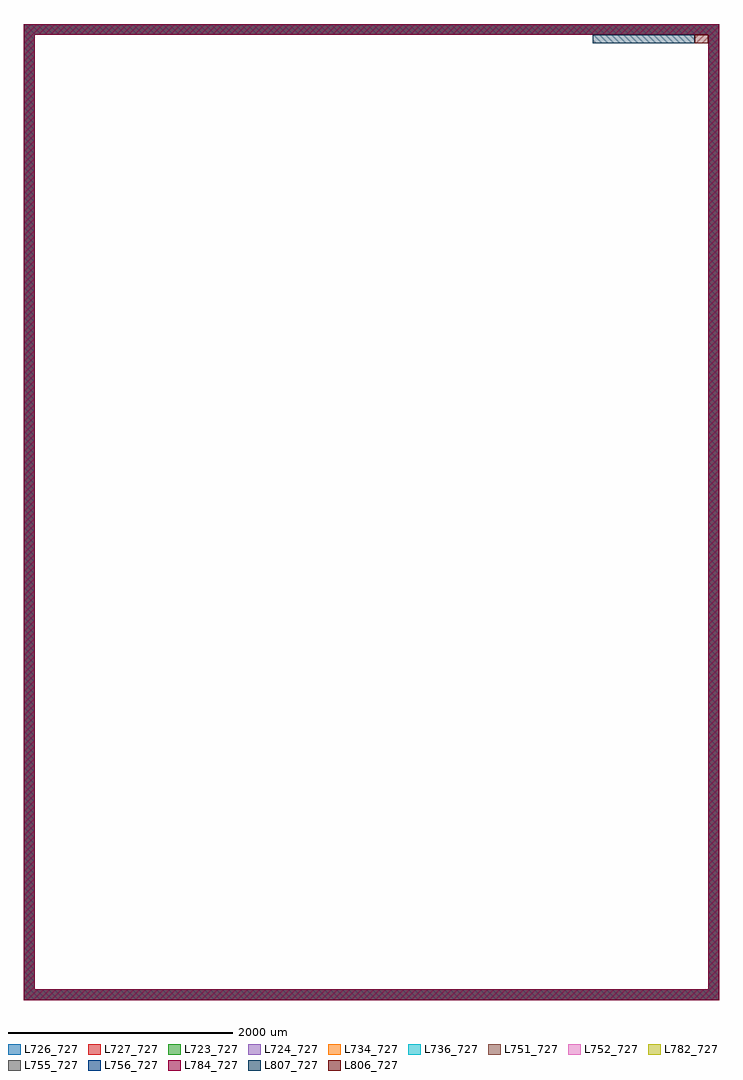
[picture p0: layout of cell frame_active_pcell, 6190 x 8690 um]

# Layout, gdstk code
import gdstk
lib = gdstk.Library(unit=1e-6, precision=1e-09)
def R(c, l, rs):  # rectangles x0, y0, x1, y1
    for r in rs: c.add(gdstk.rectangle(r[:2], r[2:], *l))
L723_727 = (723, 727)
L724_727 = (724, 727)
L726_727 = (726, 727)
L727_727 = (727, 727)
L734_727 = (734, 727)
L736_727 = (736, 727)
L751_727 = (751, 727)
L752_727 = (752, 727)
L755_727 = (755, 727)
L756_727 = (756, 727)
L782_727 = (782, 727)
L784_727 = (784, 727)
L806_727 = (806, 727)
L807_727 = (807, 727)

frame_active_pcell = lib.new_cell('frame_active_pcell')
R(frame_active_pcell, L723_727, [(-95,-95,0,8595), (-95,-95,6095,0), (6000,-95,6095,8595), (-95,8500,6095,8595)])
R(frame_active_pcell, L724_727, [(-95,-95,0,8595), (-95,-95,6095,0), (6000,-95,6095,8595), (-95,8500,6095,8595)])
R(frame_active_pcell, L726_727, [(-95,-95,0,8595), (-95,-95,6095,0), (6000,-95,6095,8595), (-95,8500,6095,8595)])
R(frame_active_pcell, L727_727, [(-95,-95,0,8595), (-95,-95,6095,0), (6000,-95,6095,8595), (-95,8500,6095,8595)])
R(frame_active_pcell, L734_727, [(-95,-95,0,8595), (-95,-95,6095,0), (6000,-95,6095,8595), (-95,8500,6095,8595)])
R(frame_active_pcell, L736_727, [(-95,-95,0,8595), (-95,-95,6095,0), (6000,-95,6095,8595), (-95,8500,6095,8595)])
R(frame_active_pcell, L751_727, [(-95,-95,0,8595), (-95,-95,6095,0), (6000,-95,6095,8595), (-95,8500,6095,8595)])
R(frame_active_pcell, L752_727, [(-95,-95,0,8595), (-95,-95,6095,0), (6000,-95,6095,8595), (-95,8500,6095,8595)])
R(frame_active_pcell, L755_727, [(-95,-95,0,8595), (-95,-95,6095,0), (6000,-95,6095,8595), (-95,8500,6095,8595)])
R(frame_active_pcell, L756_727, [(-95,-95,0,8595), (-95,-95,6095,0), (6000,-95,6095,8595), (-95,8500,6095,8595)])
R(frame_active_pcell, L782_727, [(-95,-95,0,8595), (-95,-95,6095,0), (6000,-95,6095,8595), (-95,8500,6095,8595)])
R(frame_active_pcell, L784_727, [(-95,-95,0,8595), (-95,-95,6095,0), (6000,-95,6095,8595), (-95,8500,6095,8595)])
R(frame_active_pcell, L806_727, [(5880,8425,6000,8500)])
R(frame_active_pcell, L807_727, [(4970,8425,5880,8500)])

lib.write_gds('frame_active_pcell.gds')
